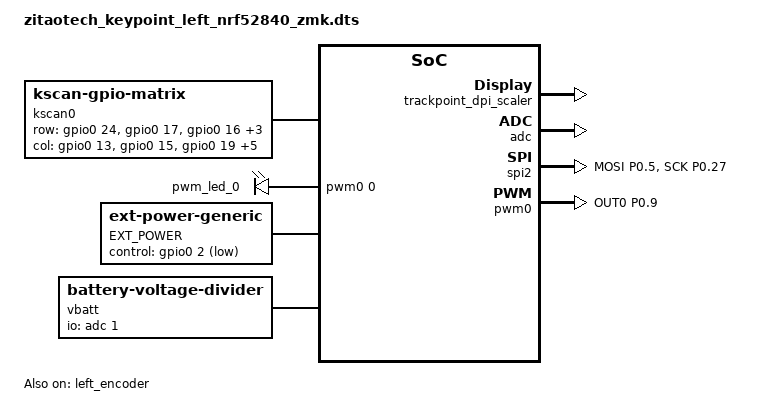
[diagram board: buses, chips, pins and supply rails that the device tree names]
/*
*
* Copyright (c) 2025 ZitaoTech
* SPDX-License-Identifier: MIT
*
*/
#include <dt-bindings/zmk/behaviors.h>
#include "zitaotech_keypoint.dtsi"
#include <zephyr/dt-bindings/input/input-event-codes.h>
#include <dt-bindings/zmk/keys.h>

#define MOUSE_LAYER_ID 3

/ { input_processors { trackpoint_dpi_scaler: trackpoint_dpi_scaler {
 compatible = "zmk,input-processor-trackpoint-dpi"; #input-processor-cells = <0>; track-remainders;
}; }; };

/ {
    chosen {

        zmk,battery = &vbatt;
    };
    kscan0: kscan {
        compatible = "zmk,kscan-gpio-matrix";
        diode-direction = "col2row";
        wakeup-source;
        row-gpios
            = <&gpio0 24 (GPIO_ACTIVE_HIGH | GPIO_PULL_DOWN)>
            , <&gpio0 17  (GPIO_ACTIVE_HIGH | GPIO_PULL_DOWN)>
            , <&gpio0 16 (GPIO_ACTIVE_HIGH | GPIO_PULL_DOWN)>
            , <&gpio1 8  (GPIO_ACTIVE_HIGH | GPIO_PULL_DOWN)>
            , <&gpio0 31  (GPIO_ACTIVE_HIGH | GPIO_PULL_DOWN)>
            , <&gpio0 29  (GPIO_ACTIVE_HIGH | GPIO_PULL_DOWN)>
            ;
        col-gpios
            = <&gpio0 13  GPIO_ACTIVE_HIGH>
            , <&gpio0 15  GPIO_ACTIVE_HIGH>
            , <&gpio0 19  GPIO_ACTIVE_HIGH>
            , <&gpio0 22 GPIO_ACTIVE_HIGH>
            , <&gpio0 20 GPIO_ACTIVE_HIGH>
            , <&gpio1 0 GPIO_ACTIVE_HIGH>
            , <&gpio0 28 GPIO_ACTIVE_HIGH>
            , <&gpio0 30 GPIO_ACTIVE_HIGH>
            ;
    };

    backlight: pwmleds {
        compatible = "pwm-leds";
        pwm_led_0 {
            pwms = <&pwm0 0 PWM_MSEC(10) PWM_POLARITY_NORMAL>;
        };
    };
    EXT_POWER {
        compatible = "zmk,ext-power-generic";
        control-gpios = <&gpio0 2 GPIO_ACTIVE_LOW>;
    };
    vbatt: vbatt {
        compatible = "zmk,battery-voltage-divider";
        io-channels = <&adc 1>;
        output-ohms = <2000000>;
        full-ohms = <2820000>;  // 2000000 + 820000
    };
};


&adc {
    status = "okay";
};

&gpiote {
    status = "okay";
};

&gpio0 {
    status = "okay";
};

&gpio1 {
    status = "okay";
};

&spi2 {
    status = "okay";
};

&pwm0 {
    status = "okay";
    pinctrl-0 = <&pwm0_default>;
    pinctrl-1 = <&pwm0_sleep>;
    pinctrl-names = "default", "sleep";
};


&left_encoder {
    status = "okay";
};


/ {
    split_inputs {
        #address-cells = <1>;
        #size-cells = <0>;

        trackpoint_split: trackpoint_split@0 {
            compatible = "zmk,input-split";
            reg = <0>;
        };
    };

};

/ {
    split_inputs {
        #address-cells = <1>;
        #size-cells = <0>;

        bbtrackpad_split: bbtrackpad_split@0 {
            compatible = "zmk,input-split";
            reg = <0>;
        };
    };

};

/ {
    split_inputs {
        #address-cells = <1>;
        #size-cells = <0>;

        bbtrackball_split: bbtrackball_split@0 {
            compatible = "zmk,input-split";
            reg = <0>;
        };
    };

};



/ {
    trackpoint_listener: trackpoint_listener {
        compatible = "zmk,input-listener";
        status = "disabled";
        device = <&trackpoint_split>;
    };
    bbtrackpad_listener: bbtrackpad_listener {
        compatible = "zmk,input-listener";
        status = "disabled";
        device = <&bbtrackpad_split>;
    };
    bbtrackball_listener: bbtrackball_listener {
        compatible = "zmk,input-listener";
        status = "disabled";
        device = <&bbtrackball_split>;
    };
};

&trackpoint_listener {
    status = "okay";
    input-processors =
        <&zip_temp_layer 3 600>,
        <&trackpoint_dpi_scaler>,
        <&ip_behaviors0>,
        <&ip_behaviors1>,
        <&ip_behaviors2>,
        <&ip_behaviors3>;
};

/*&trackpoint_listener {
    status = "okay";
};
*/
&bbtrackpad_listener {
    status = "okay";
};

&bbtrackball_listener {
    status = "okay";
};

lpm_view_spi: &spi2 {
    compatible = "nordic,nrf-spim";
    pinctrl-0 = <&spi2_default>;
    pinctrl-1 = <&spi2_sleep>;
    pinctrl-names = "default", "sleep";
    cs-gpios = <&gpio0 12 (GPIO_ACTIVE_HIGH | GPIO_PULL_DOWN) >;
};


&pinctrl {
    pwm0_default:pwm0_default{
        group1{
            psels = <NRF_PSEL(PWM_OUT0, 0, 9)>; //  backlight, unreal
        };
    };

    pwm0_sleep: pwm0_sleep {
        group1 {
            psels = <NRF_PSEL(PWM_OUT0, 0, 9)>;
            bias-pull-down;
        };
    };
    spi2_default: spi2_default {
        group1 {
            psels = <NRF_PSEL(SPIM_MOSI, 0, 5)>,
            <NRF_PSEL(SPIM_SCK, 0, 27)>;
        };
    };
    spi2_sleep: spi2_sleep {
        group1 {
            psels = <NRF_PSEL(SPIM_MOSI, 0, 5)>,
            <NRF_PSEL(SPIM_SCK, 0, 27)>;
            low-power-enable;
        };
    };
};
